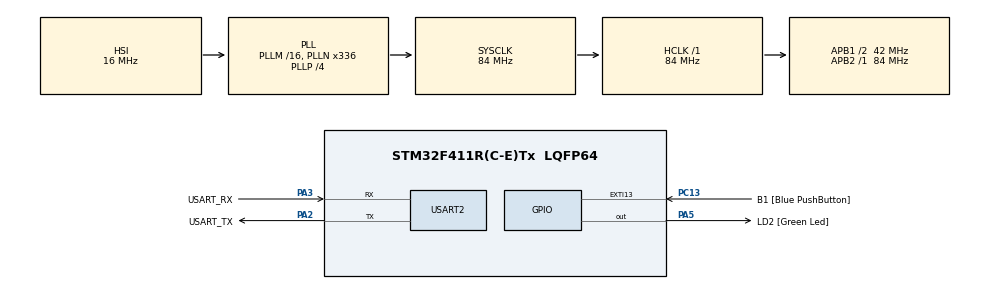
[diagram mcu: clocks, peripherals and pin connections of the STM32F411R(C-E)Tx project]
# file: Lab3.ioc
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FREERTOS.Tasks01=defaultTask,0,128,StartDefaultTask,Default,NULL,Dynamic,NULL,NULL
FREERTOS.configUSE_TIMERS=1
Mcu.Family=STM32F4
Mcu.Name=STM32F411R(C-E)Tx
Mcu.Package=LQFP64
NVIC.PriorityGroup=NVIC_PRIORITYGROUP_4
PA13.GPIO_Label=TMS
PA13.Mode=Serial_Wire
PA13.Signal=SYS_JTMS-SWDIO
PA14.GPIO_Label=TCK
PA14.Mode=Serial_Wire
PA14.Signal=SYS_JTCK-SWCLK
PA2.GPIO_Label=USART_TX
PA2.Mode=Asynchronous
PA2.Signal=USART2_TX
PA3.GPIO_Label=USART_RX
PA3.Mode=Asynchronous
PA3.Signal=USART2_RX
PA5.GPIO_Label=LD2 [Green Led]
PA5.Signal=GPIO_Output
PB3.GPIO_Label=SWO
PB3.Signal=SYS_JTDO-SWO
PC13-ANTI_TAMP.GPIO_Label=B1 [Blue PushButton]
PC13-ANTI_TAMP.GPIO_ModeDefaultEXTI=GPIO_MODE_IT_FALLING
PC13-ANTI_TAMP.Signal=GPXTI13
PC14-OSC32_IN.Mode=LSE-External-Oscillator
PC14-OSC32_IN.Signal=RCC_OSC32_IN
PC15-OSC32_OUT.Mode=LSE-External-Oscillator
PC15-OSC32_OUT.Signal=RCC_OSC32_OUT
PH0\ -\ OSC_IN.Mode=HSE-External-Clock-Source
PH0\ -\ OSC_IN.Signal=RCC_OSC_IN
PH1\ -\ OSC_OUT.Mode=HSE-External-Clock-Source
PH1\ -\ OSC_OUT.Signal=RCC_OSC_OUT
ProjectManager.HeapSize=0x200
ProjectManager.StackSize=0x400
ProjectManager.TargetToolchain=STM32CubeIDE
RCC.48MHZClocksFreq_Value=84000000
RCC.AHBFreq_Value=84000000
RCC.APB1CLKDivider=RCC_HCLK_DIV2
RCC.APB1Freq_Value=42000000
RCC.APB1TimFreq_Value=84000000
RCC.APB2Freq_Value=84000000
RCC.APB2TimFreq_Value=84000000
RCC.CortexFreq_Value=84000000
RCC.FLatency-AdvancedSettings=FLASH_LATENCY_2
RCC.HCLKFreq_Value=84000000
RCC.HSE_VALUE=8000000
RCC.HSI_VALUE=16000000
RCC.PLLN=336
RCC.PLLP=RCC_PLLP_DIV4
RCC.SYSCLKFreq_VALUE=84000000
RCC.SYSCLKSource=RCC_SYSCLKSOURCE_PLLCLK
RCC.VCOOutputFreq_Value=336000000
USART2.VirtualMode=VM_ASYNC
VP_FREERTOS_VS_CMSIS_V1.Mode=CMSIS_V1
board=NUCLEO-F411RE

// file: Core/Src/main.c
/* USER CODE BEGIN Header */
/**
  ******************************************************************************
  * @file           : main.c
  * @brief          : Main program body
  ******************************************************************************
  * @attention
  *
  * <h2><center>&copy; Copyright (c) 2021 STMicroelectronics.
  * All rights reserved.</center></h2>
  *
  * This software component is licensed by ST under BSD 3-Clause license,
  * the "License"; You may not use this file except in compliance with the
  * License. You may obtain a copy of the License at:
  *                        opensource.org/licenses/BSD-3-Clause
  *
  ******************************************************************************
  */
/* USER CODE END Header */
#include "main.h"
#include "cmsis_os.h"

UART_HandleTypeDef huart2;

osThreadId defaultTaskHandle;

void SystemClock_Config(void);
static void MX_GPIO_Init(void);
static void MX_USART2_UART_Init(void);
void StartDefaultTask(void const * argument);

int main(void)
{

  /* MCU Configuration--------------------------------------------------------*/

  /* Reset of all peripherals, Initializes the Flash interface and the Systick. */
  HAL_Init();

  /* Configure the system clock */
  SystemClock_Config();

  /* Initialize all configured peripherals */
  MX_GPIO_Init();
  MX_USART2_UART_Init();

  /* Create the thread(s) */
  /* definition and creation of defaultTask */
  osThreadDef(defaultTask, StartDefaultTask, osPriorityNormal, 0, 128);
  defaultTaskHandle = osThreadCreate(osThread(defaultTask), NULL);

  /* Start scheduler */
  osKernelStart();

  /* We should never get here as control is now taken by the scheduler */
  /* Infinite loop */
  while (1)
  {

  }
}

void SystemClock_Config(void)
{
  RCC_OscInitTypeDef RCC_OscInitStruct = {0};
  RCC_ClkInitTypeDef RCC_ClkInitStruct = {0};

  /** Configure the main internal regulator output voltage
  */
  __HAL_RCC_PWR_CLK_ENABLE();
  __HAL_PWR_VOLTAGESCALING_CONFIG(PWR_REGULATOR_VOLTAGE_SCALE1);
  /** Initializes the RCC Oscillators according to the specified parameters
  * in the RCC_OscInitTypeDef structure.
  */
  RCC_OscInitStruct.OscillatorType = RCC_OSCILLATORTYPE_HSI;
  RCC_OscInitStruct.HSIState = RCC_HSI_ON;
  RCC_OscInitStruct.HSICalibrationValue = RCC_HSICALIBRATION_DEFAULT;
  RCC_OscInitStruct.PLL.PLLState = RCC_PLL_ON;
  RCC_OscInitStruct.PLL.PLLSource = RCC_PLLSOURCE_HSI;
  RCC_OscInitStruct.PLL.PLLM = 16;
  RCC_OscInitStruct.PLL.PLLN = 336;
  RCC_OscInitStruct.PLL.PLLP = RCC_PLLP_DIV4;
  RCC_OscInitStruct.PLL.PLLQ = 4;
  if (HAL_RCC_OscConfig(&RCC_OscInitStruct) != HAL_OK)
  {
    Error_Handler();
  }
  /** Initializes the CPU, AHB and APB buses clocks
  */
  RCC_ClkInitStruct.ClockType = RCC_CLOCKTYPE_HCLK|RCC_CLOCKTYPE_SYSCLK
                              |RCC_CLOCKTYPE_PCLK1|RCC_CLOCKTYPE_PCLK2;
  RCC_ClkInitStruct.SYSCLKSource = RCC_SYSCLKSOURCE_PLLCLK;
  RCC_ClkInitStruct.AHBCLKDivider = RCC_SYSCLK_DIV1;
  RCC_ClkInitStruct.APB1CLKDivider = RCC_HCLK_DIV2;
  RCC_ClkInitStruct.APB2CLKDivider = RCC_HCLK_DIV1;

  if (HAL_RCC_ClockConfig(&RCC_ClkInitStruct, FLASH_LATENCY_2) != HAL_OK)
  {
    Error_Handler();
  }
}

static void MX_USART2_UART_Init(void)
{

  huart2.Instance = USART2;
  huart2.Init.BaudRate = 115200;
  huart2.Init.WordLength = UART_WORDLENGTH_8B;
  huart2.Init.StopBits = UART_STOPBITS_1;
  huart2.Init.Parity = UART_PARITY_NONE;
  huart2.Init.Mode = UART_MODE_TX_RX;
  huart2.Init.HwFlowCtl = UART_HWCONTROL_NONE;
  huart2.Init.OverSampling = UART_OVERSAMPLING_16;
  if (HAL_UART_Init(&huart2) != HAL_OK)
  {
    Error_Handler();
  }

}

static void MX_GPIO_Init(void)
{
  GPIO_InitTypeDef GPIO_InitStruct = {0};

  /* GPIO Ports Clock Enable */
  __HAL_RCC_GPIOC_CLK_ENABLE();
  __HAL_RCC_GPIOH_CLK_ENABLE();
  __HAL_RCC_GPIOA_CLK_ENABLE();
  __HAL_RCC_GPIOB_CLK_ENABLE();

  /*Configure GPIO pin Output Level */
  HAL_GPIO_WritePin(LD2_GPIO_Port, LD2_Pin, GPIO_PIN_RESET);

  /*Configure GPIO pin : B1_Pin */
  GPIO_InitStruct.Pin = B1_Pin;
  GPIO_InitStruct.Mode = GPIO_MODE_IT_FALLING;
  GPIO_InitStruct.Pull = GPIO_NOPULL;
  HAL_GPIO_Init(B1_GPIO_Port, &GPIO_InitStruct);

  /*Configure GPIO pin : LD2_Pin */
  GPIO_InitStruct.Pin = LD2_Pin;
  GPIO_InitStruct.Mode = GPIO_MODE_OUTPUT_PP;
  GPIO_InitStruct.Pull = GPIO_NOPULL;
  GPIO_InitStruct.Speed = GPIO_SPEED_FREQ_LOW;
  HAL_GPIO_Init(LD2_GPIO_Port, &GPIO_InitStruct);

}

/* USER CODE BEGIN 4 */

void t1_thread(void const *args){
	char c = 'A';
	while(1){
		HAL_UART_Transmit(&huart2,&c,1,50);
		osDelay(50);
	}
}
void t2_thread(void const *args){
	while(1){
		HAL_GPIO_TogglePin(GPIOA,GPIO_PIN_5);
		osDelay(18);
	}
}
void t3_thread(void const *args){
	char c = 'B';
	while(1){
		HAL_UART_Transmit(&huart2,&c,1,128);
		osDelay(128);
	}
}

/* USER CODE END 4 */

void StartDefaultTask(void const * argument)
{
  /* USER CODE BEGIN 5 */
  osThreadDef(t1, t1_thread, osPriorityNormal, 0, 128);
  osThreadId t1TaskHandle = osThreadCreate(osThread(t1), NULL);
  osThreadDef(t2, t2_thread, osPriorityNormal, 0, 128);
  osThreadId t2TaskHandle = osThreadCreate(osThread(t2), NULL);
  osThreadDef(t3, t3_thread, osPriorityNormal, 0, 128);
  osThreadId t3TaskHandle = osThreadCreate(osThread(t3), NULL);
  /* Infinite loop */
  for(;;)
  {
    osDelay(1);
  }
  /* USER CODE END 5 */
}

void Error_Handler(void)
{
  __disable_irq();
  while (1)
  {
  }
}

/************************ (C) COPYRIGHT STMicroelectronics *****END OF FILE****/
